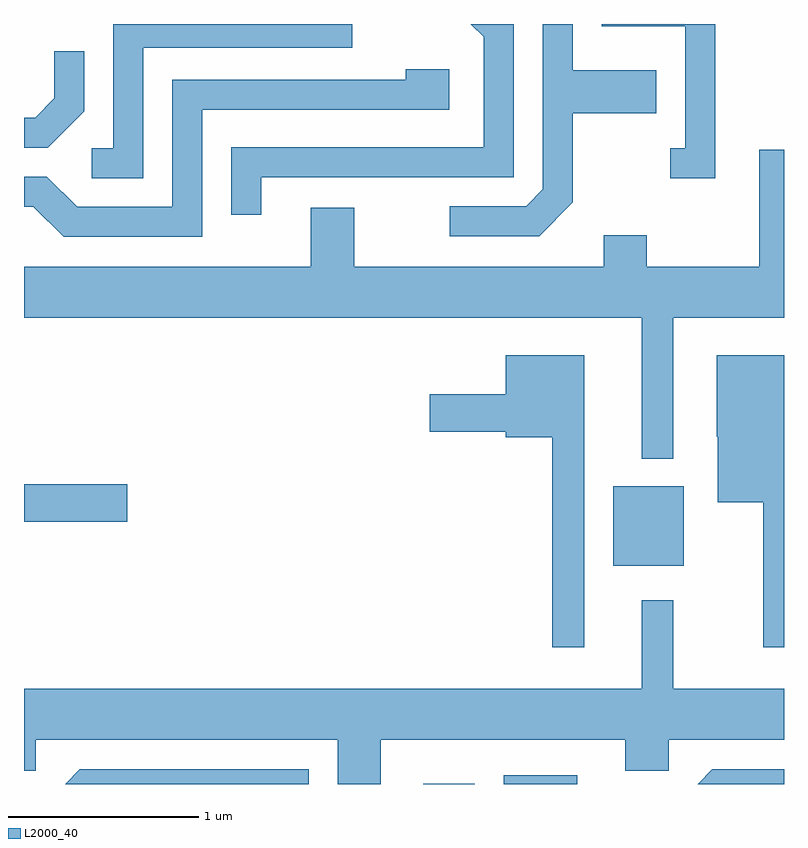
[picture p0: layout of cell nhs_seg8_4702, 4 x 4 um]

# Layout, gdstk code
import gdstk
lib = gdstk.Library(unit=1e-6, precision=1e-09)
def R(c, l, rs):  # rectangles x0, y0, x1, y1
    for r in rs: c.add(gdstk.rectangle(r[:2], r[2:], *l))
def P(c, l, *ps):  # polygons
    for p in ps: c.add(gdstk.Polygon(p, *l))
L2000_40 = (2000, 40)

nhs_seg8_4702 = lib.new_cell('nhs_seg8_4702')
R(nhs_seg8_4702, L2000_40, [(327.713,1898.342,327.984,1898.344), (328.136,1898.342,328.523,1898.389), (328.711,1899.491,329.084,1899.909), (325.611,1899.721,326.154,1899.919)])
P(nhs_seg8_4702, L2000_40, [(326.859,1901.536),(328.189,1901.536),(328.189,1902.342),(327.963,1902.342),(328.031,1902.274),(328.031,1901.694),(326.701,1901.694),(326.701,1901.338),(326.859,1901.338)],
  [(326.239,1902.216),(327.338,1902.216),(327.338,1902.342),(326.081,1902.342),(326.081,1901.689),(325.968,1901.689),(325.968,1901.531),(326.239,1901.531)],
  [(328.499,1901.404),(328.499,1901.871),(328.939,1901.871),(328.939,1902.099),(328.499,1902.099),(328.499,1902.342),(328.341,1902.342),(328.341,1901.472),(328.254,1901.384),(327.853,1901.384),(327.853,1901.226),(328.322,1901.226)],
  [(329.249,1902.342),(328.651,1902.342),(328.651,1902.331),(329.091,1902.331),(329.091,1901.689),(329.013,1901.689),(329.013,1901.531),(329.249,1901.531)],
  [(325.929,1901.884),(325.929,1902.198),(325.771,1902.198),(325.771,1901.952),(325.669,1901.849),(325.611,1901.849),(325.611,1901.691),(325.737,1901.691)],
  [(326.549,1901.891),(327.849,1901.891),(327.849,1902.104),(327.621,1902.104),(327.621,1902.049),(326.391,1902.049),(326.391,1901.379),(325.892,1901.379),(325.732,1901.539),(325.611,1901.539),(325.611,1901.381),(325.659,1901.381),(325.819,1901.221),(326.549,1901.221)],
  [(329.029,1900.796),(329.611,1900.796),(329.611,1901.679),(329.481,1901.679),(329.481,1901.064),(328.889,1901.064),(328.889,1901.229),(328.661,1901.229),(328.661,1901.064),(327.349,1901.064),(327.349,1901.374),(327.121,1901.374),(327.121,1901.064),(325.611,1901.064),(325.611,1900.796),(328.861,1900.796),(328.861,1900.053),(329.029,1900.053)],
  [(328.559,1900.599),(328.146,1900.599),(328.146,1900.394),(327.746,1900.394),(327.746,1900.196),(328.146,1900.196),(328.146,1900.166),(328.391,1900.166),(328.391,1899.063),(328.559,1899.063)],
  [(329.611,1900.599),(329.256,1900.599),(329.256,1900.17),(329.261,1900.17),(329.261,1899.826),(329.501,1899.826),(329.501,1899.063),(329.611,1899.063)],
  [(327.489,1898.576),(328.776,1898.576),(328.776,1898.411),(329.004,1898.411),(329.004,1898.576),(329.611,1898.576),(329.611,1898.844),(329.029,1898.844),(329.029,1899.308),(328.861,1899.308),(328.861,1898.844),(325.611,1898.844),(325.611,1898.411),(325.674,1898.411),(325.674,1898.576),(327.261,1898.576),(327.261,1898.342),(327.489,1898.342)],
  [(327.109,1898.419),(325.904,1898.419),(325.827,1898.342),(327.109,1898.342)],
  [(329.611,1898.419),(329.234,1898.419),(329.157,1898.342),(329.611,1898.342)])

lib.write_gds('nhs_seg8_4702.gds')
